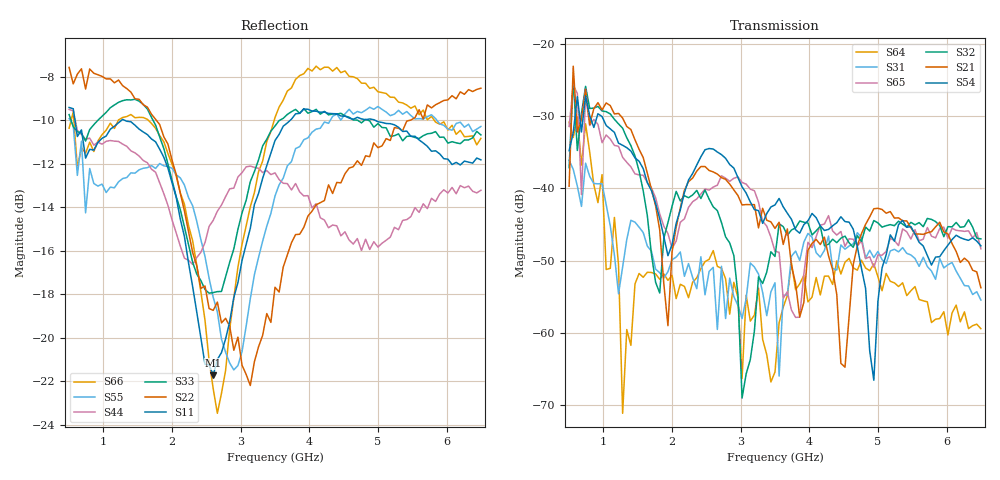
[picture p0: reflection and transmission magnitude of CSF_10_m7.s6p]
!Keysight Technologies,M9804A,MY58100912,A.14.10.03
!Date: Thursday, April 27, 2023 10:28:33
!Correction: S11(C  6-Port  )
!S12(C  6-Port  )
!S13(C  6-Port  )
!S14(C  6-Port  )
!S15(C  6-Port  )
!S16(C  6-Port  )
!S21(C  6-Port  )
!S22(C  6-Port  )
!S23(C  6-Port  )
!S24(C  6-Port  )
!S25(C  6-Port  )
!S26(C  6-Port  )
!S31(C  6-Port  )
!S32(C  6-Port  )
!S33(C  6-Port  )
!S34(C  6-Port  )
!S35(C  6-Port  )
!S36(C  6-Port  )
!S41(C  6-Port  )
!S42(C  6-Port  )
!S43(C  6-Port  )
!S44(C  6-Port  )
!S45(C  6-Port  )
!S46(C  6-Port  )
!S51(C  6-Port  )
!S52(C  6-Port  )
!S53(C  6-Port  )
!S54(C  6-Port  )
!S55(C  6-Port  )
!S56(C  6-Port  )
!S61(C  6-Port  )
!S62(C  6-Port  )
!S63(C  6-Port  )
!S64(C  6-Port  )
!S65(C  6-Port  )
!S66(C  6-Port  )
!S6P File: Measurement: :
# Hz S  RI  R 50
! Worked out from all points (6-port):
!   101 points, 500 MHz to 6.5 GHz, reference 50 ohm
!   strongest paths, dB at 500 MHz, 2 GHz, 3.5 GHz, 5 GHz, 6.5 GHz:
!     S54: -34.8, -47.8, -42.3, -55.6, -47.9
!     S21: -39.7, -48.8, -45.5, -42.8, -53.8
!     S32: -37.1, -42.5, -49.4, -44.8, -47.0
!     S65: -31.4, -48.3, -48.7, -49.2, -48.4
!     S31: -36.1, -49.9, -53.1, -48.7, -55.5
!     S64: -30.8, -52.0, -65.4, -52.2, -59.4
!   lowest |S11| = -21.7 dB at 2.6 GHz (marker M1), VSWR 1.18, Z = 42.7 + j1.97 ohm
!   |S11| at or under -10 dB: 584.9 MHz to 1.264 GHz (678.9 MHz wide, 73.4 % of centre); 1.309 GHz to 3.722 GHz (2.413 GHz wide, 95.9 % of centre); 4.957 GHz to end of sweep
